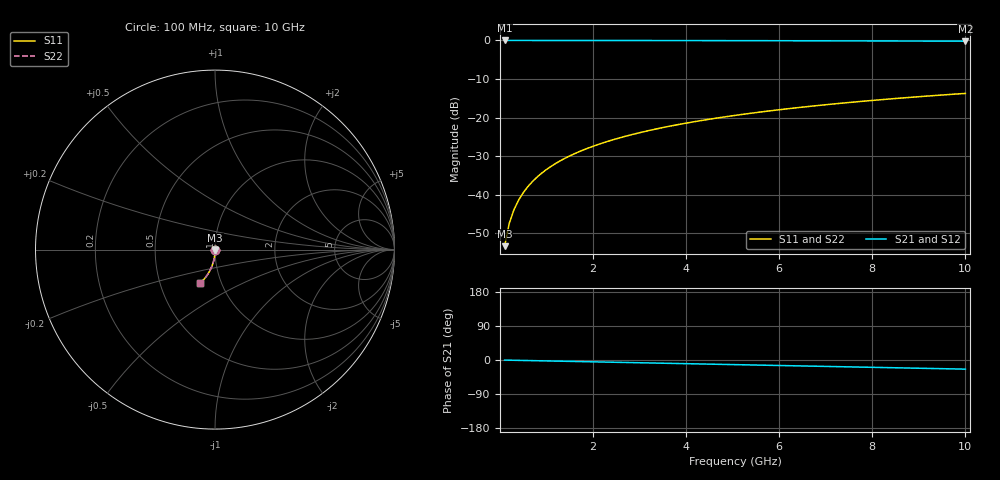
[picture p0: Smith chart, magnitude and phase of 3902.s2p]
# Hz S RI R 50.00
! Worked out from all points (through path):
!   100 points, 100 MHz to 10 GHz, reference 50 ohm
!   highest |S21| = 0.00 dB at 100 MHz (marker M1); lowest = -0.2 dB at 10 GHz (marker M2)
!   group delay of S21, straight-line fit = 6.7 ps
!   lowest |S11| = -53.3 dB at 100 MHz (marker M3), VSWR 1.00, Z = 50 - j0.213 ohm
!   |S11| at or under -10 dB: start of sweep to end of sweep
!   |S22| runs from -53.3 to -13.7 dB; largest |S21 - S12| = 0
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1e8  0.000364 -0.00213  0.9996 -0.00422  0.9996 -0.00422  0.000364 -0.00213
2e8  0.000337 -0.00426  0.9996 -0.00844  0.9996 -0.00844  0.000337 -0.00426
3e8  0.000291 -0.00639  0.9995 -0.0127  0.9995 -0.0127  0.000291 -0.00639
4e8  0.000226 -0.00852  0.9994 -0.0169  0.9994 -0.0169  0.000226 -0.00852
5e8  0.000144 -0.0106  0.9993 -0.0211  0.9993 -0.0211  0.000144 -0.0106
6e8  4.28e-05 -0.0128  0.9992 -0.0253  0.9992 -0.0253  4.28e-05 -0.0128
7e8  -7.6e-05 -0.0149  0.999 -0.0295  0.999 -0.0295  -7.6e-05 -0.0149
8e8  -0.000213 -0.017  0.9989 -0.0338  0.9989 -0.0338  -0.000213 -0.017
9e8  -0.000368 -0.0192  0.9987 -0.038  0.9987 -0.038  -0.000368 -0.0192
1.1e9  -0.000732 -0.0234  0.9982 -0.0464  0.9982 -0.0464  -0.000732 -0.0234
1.4e9  -0.00141 -0.0298  0.9974 -0.0591  0.9974 -0.0591  -0.00141 -0.0298
1.8e9  -0.00257 -0.0382  0.9959 -0.0759  0.9959 -0.0759  -0.00257 -0.0382
2.1e9  -0.00363 -0.0445  0.9946 -0.0885  0.9946 -0.0885  -0.00363 -0.0445
2.5e9  -0.00529 -0.0529  0.9925 -0.1053  0.9925 -0.1053  -0.00529 -0.0529
2.9e9  -0.00723 -0.0612  0.9901 -0.122  0.9901 -0.122  -0.00723 -0.0612
3.4e9  -0.01 -0.0715  0.9866 -0.1428  0.9866 -0.1428  -0.01 -0.0715
4.2e9  -0.0155 -0.0877  0.9798 -0.1758  0.9798 -0.1758  -0.0155 -0.0877
5.1e9  -0.0228 -0.1054  0.9706 -0.2125  0.9706 -0.2125  -0.0228 -0.1054
5.9e9  -0.0305 -0.1207  0.961 -0.2446  0.961 -0.2446  -0.0305 -0.1207
6.7e9  -0.0391 -0.1353  0.9501 -0.2762  0.9501 -0.2762  -0.0391 -0.1353
8.4e9  -0.0605 -0.1642  0.9228 -0.3412  0.9228 -0.3412  -0.0605 -0.1642
1e10  -0.084 -0.1881  0.8925 -0.3993  0.8925 -0.3993  -0.084 -0.1881
